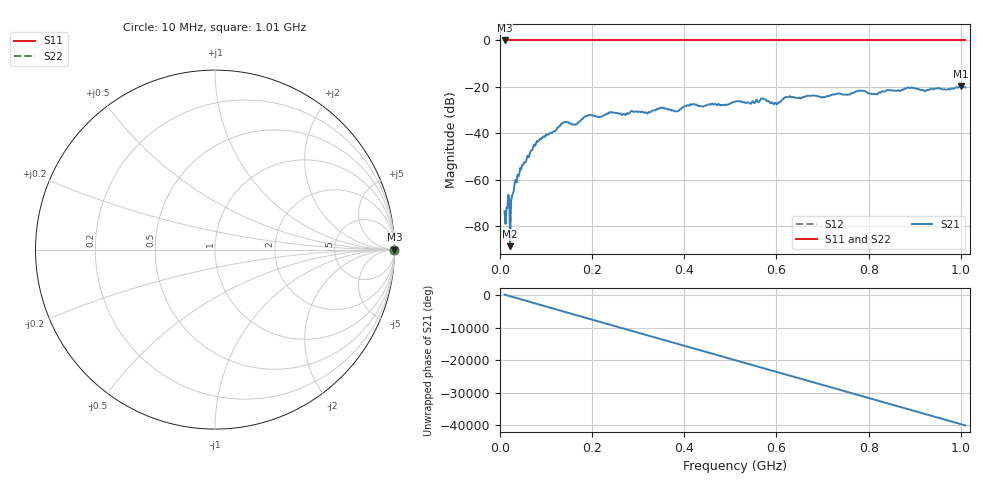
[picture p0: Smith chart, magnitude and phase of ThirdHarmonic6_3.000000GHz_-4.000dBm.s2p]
! 8/17/2025 8:34:27 AM
! C:\ANRITSUVNA\TEMP\TEMP.S2P
! CHANNEL.1
! TR.MEASUREMENT
! RAW.DATA
! RF.CORRECTION.OFF
! AVERAGING.OFF
! IF.BANDWIDTH: 5KHZ
! SWEEPTYPE:  FREQ.SWEEP(Linear)
! Reference Plane Port Info
! PORT:  PORT1  PORT2
! DISTANCE:  0  m  0  m
! TIME:  0  s  0  s
! PHASE.OFFSET:  0  deg.  0  deg.
! LOSS:  0  dB  0  dB
! REF.LOSS:  0  dB  0  dB
! REF.FREQ:  0  Hz  0  Hz
! Power Info
! POWER:  -20  dBm  -20  dBm
! EFF.POWER:  -20  dBm  -20  dBm
! SOURCE.ATTEN:  0  dB  0  dB
! TEST.ATTEN:  0  dB  0  dB
# GHZ S RI R 50.0
! FREQ.GHZ  S11RE  S11IM  S21RE  S21IM  S12RE  S12IM  S22RE  S22IM
!; PortSelection: Port_12
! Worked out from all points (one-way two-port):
!   501 points, 10 MHz to 1.01 GHz, reference 50 ohm
!   highest |S21| = -19.55 dB at 1 GHz (marker M1); lowest = -88.5 dB at 22 MHz (marker M2)
!   lowest |S11| = 0.0 dB at 10 MHz (marker M3)
!   |S11| at or under -10 dB: nowhere
!   |S22| runs from 0.0 to 0.0 dB; largest |S21 - S12| = 1.1
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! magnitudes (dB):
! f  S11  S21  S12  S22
! 10 MHz  0.0  -73.5  0.0  0.0
! 22 MHz  0.0  -88.5  0.0  0.0
! 26 MHz  0.0  -66.8  0.0  0.0
! 30 MHz  0.0  -64.7  0.0  0.0
! 48 MHz  0.0  -53.5  0.0  0.0
! 78 MHz  0.0  -44.4  0.0  0.0
! 136 MHz  0.0  -35.6  0.0  0.0
! 162 MHz  0.0  -36.2  0.0  0.0
! 178 MHz  0.0  -33.7  0.0  0.0
! 194 MHz  0.0  -32.1  0.0  0.0
! 322 MHz  0.0  -31.1  0.0  0.0
! 344 MHz  0.0  -29.5  0.0  0.0
! 384 MHz  0.0  -30.4  0.0  0.0
! 416 MHz  0.0  -27.7  0.0  0.0
! 510 MHz  0.0  -26.3  0.0  0.0
! 570 MHz  0.0  -25.0  0.0  0.0
! 598 MHz  0.0  -26.8  0.0  0.0
! 624 MHz  0.0  -24.5  0.0  0.0
! 678 MHz  0.0  -23.7  0.0  0.0
! 844 MHz  0.0  -21.4  0.0  0.0
! 1 GHz  0.0  -19.5  0.0  0.0
! 1.01 GHz  0.0  -20.2  0.0  0.0
